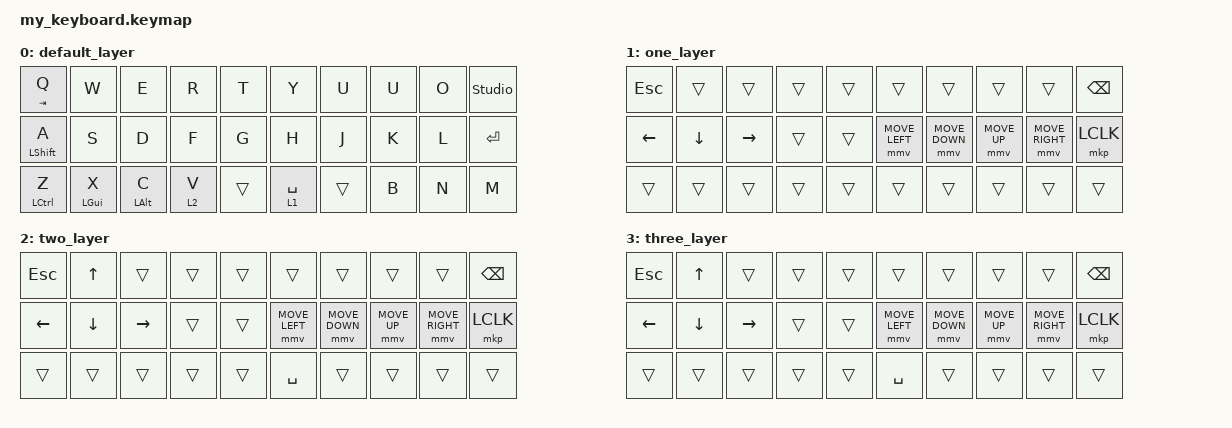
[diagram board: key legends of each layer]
#include <behaviors.dtsi>
#include <dt-bindings/zmk/keys.h>
#include <dt-bindings/zmk/pointing.h>

/ {
    keymap {
        compatible = "zmk,keymap";
        label = "Default";

       default_layer {
            bindings = <
                // --------------------------------------------------------------
                // | TAB.Q |  W  |  E  |  R  |  T  |   Y   |  U  |  I  |  O  |  P  |
                // |SHIFT.A|  S  |  D  |  F  |  G  |   H   |  J  |  K  |  L  |ENTER|
                // |CTRL.Z |win.X|ALT.C| 2.V |     |1.SPACE|     |  B  |  N  |  M  |
                // --------------------------------------------------------------

                &mt TAB Q  &kp W  &kp E  &kp R  &kp T  &kp Y  &kp U  &kp U  &kp O  &studio_unlock        
                // 第二行 (Row 1) - 回车键在L键右侧
                &mt LSHIFT A  &kp S  &kp D  &kp F  &kp G  &kp H  &kp J  &kp K  &kp L  &kp ENTER
                // 第三行 (Row 2) - 空格键在V和B键之间
                &mt LCTRL Z  &mt LGUI X  &mt LALT C  &lt 2 V  &trans &lt 1 SPACE &trans &kp B &kp N &kp M
            >;
        };
        one_layer {
            bindings = <
                // ------------------------------------------------------------------
                // |  ESC | STU  |      |     |     |     |      |  UP  |     | BSPC|
                // |LSHIFT|      |      |     |     |     | LEFT | DOWNN|RIGHT|  CK |
                // | CTRL | WIN  |  ALT |     |     |     |      |      |     |     |
                // ------------------------------------------------------------------

                &kp ESC  &trans &trans &trans &trans &trans &trans &trans &trans &kp BSPC      
                &kp LEFT &kp DOWN  &kp RIGHT  &trans &trans &mmv MOVE_LEFT &mmv MOVE_DOWN &mmv MOVE_UP &mmv MOVE_RIGHT &mkp LCLK
                &trans &trans &trans &trans  &trans &trans  &trans &trans &trans &trans
            >;
        };
        two_layer {
            bindings = <
                // --------------------------------------------------------------
                // |   1  |  2  |  3  |  4  |  5  |  6  |  7  |  8  |  9  |  0   |
                // |  LS  |     |     |     |     | M.L | M.D | M.UP| M.R |RSHIFT|
                // | CTRL | WIN | ALT |     |     |     |     |     |     |      |
                // --------------------------------------------------------------

                &kp ESC &kp UP &trans &trans &trans &trans &trans &trans &trans &kp BSPC      
                &kp LEFT &kp DOWN  &kp RIGHT  &trans &trans &mmv MOVE_LEFT &mmv MOVE_DOWN &mmv MOVE_UP &mmv MOVE_RIGHT &mkp LCLK
                &trans &trans &trans &trans  &trans &kp SPACE  &trans &trans &trans &trans
            >;
        };
        three_layer {
            bindings = <
                // --------------------------------------------------------------
                // |  `~  |     |     |     |     |     |     |  -_ |  =+ |      |
                // |LSHIFT|     |     |     |     |     |     |  ;: |  '" |RSHIFT|
                // | CTRL | WIN | ALT |     |     |     |     |  ,< |  '" |  /?  |
                // --------------------------------------------------------------

                &kp ESC &kp UP &trans &trans &trans &trans &trans &trans &trans &kp BSPC      
                &kp LEFT &kp DOWN  &kp RIGHT  &trans &trans &mmv MOVE_LEFT &mmv MOVE_DOWN &mmv MOVE_UP &mmv MOVE_RIGHT &mkp LCLK
                &trans &trans &trans &trans  &trans &kp SPACE  &trans &trans &trans &trans
            >;
        };

    };
};
